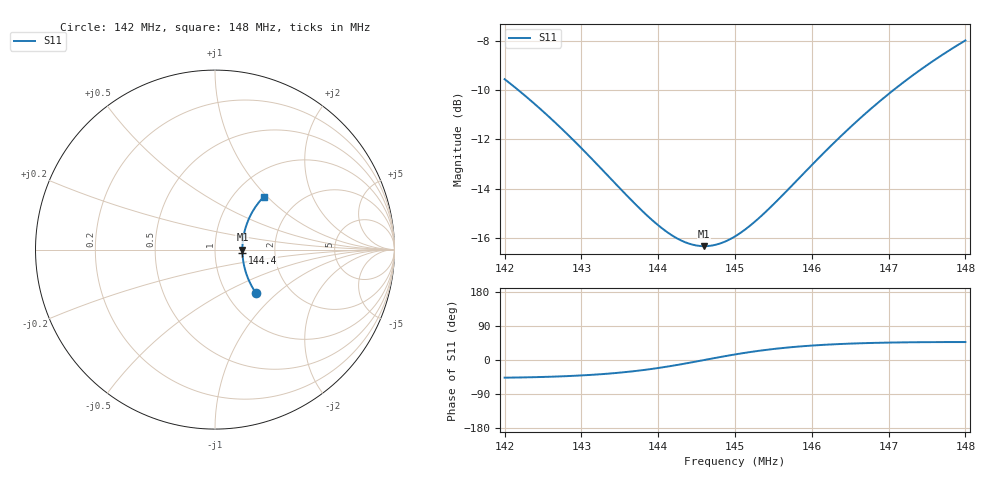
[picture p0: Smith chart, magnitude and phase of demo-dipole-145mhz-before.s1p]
! Antenna Calculator example - synthetic VNA sweep of a 2 m band dipole.
! Before trimming both dipole arms. Target frequency: 145.500 MHz.
! Same measurement plane at the feedpoint for both traces (assumed SOL calibration).
! Series RLC model: resonance 144.600 MHz, R 68.0 ohm, Q 15.0.
! Sweep 142 to 148 MHz in 50 kHz steps.
# MHz S RI R 50
! Frequency (MHz)  Re(S11)  Im(S11)
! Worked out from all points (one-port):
!   121 points, 142 MHz to 148 MHz, reference 50 ohm
!   lowest |S11| = -16.3 dB at 144.6 MHz (marker M1), VSWR 1.36, Z = 68 + j0 ohm
!   |S11| at or under -10 dB: 142.18 MHz to 147.06 MHz (4.885 MHz wide, 3.38 % of centre)
!   S11 on the Smith chart (normalised r, x): 142 MHz: 1.36, -0.74; 144.4 MHz: 1.36, -0.06; 148 MHz: 1.36, +0.95
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142  0.2285 -0.242
142.2  0.218 -0.2263
142.4  0.2082 -0.2099
142.75  0.1926 -0.1797
143.15  0.1775 -0.1433
143.5  0.1671 -0.11
143.75  0.1613 -0.0855
143.95  0.1577 -0.0656
144.1  0.1556 -0.0506
144.25  0.154 -0.0354
144.4  0.153 -0.0203
144.5  0.1527 -0.0101
144.6  0.1525 0
144.7  0.1527 0.0101
144.8  0.153 0.0202
144.9  0.1536 0.0303
145  0.1545 0.0404
145.15  0.1562 0.0554
145.3  0.1584 0.0703
145.5  0.1622 0.0899
145.75  0.1681 0.1139
146.15  0.1804 0.1511
146.5  0.1936 0.182
146.85  0.2089 0.2112
147.05  0.2185 0.227
147.25  0.2286 0.2422
147.6  0.2474 0.2672
148  0.2704 0.2932
